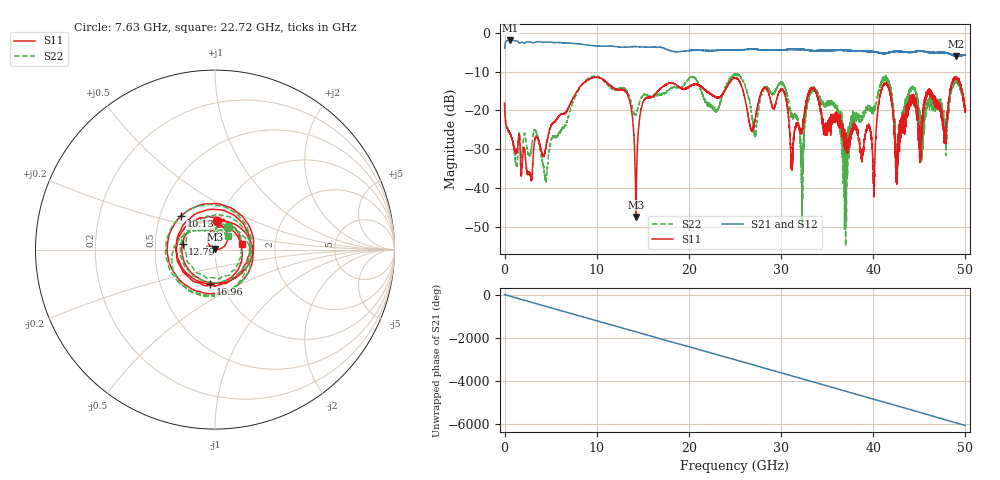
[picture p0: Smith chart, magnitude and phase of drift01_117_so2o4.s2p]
!Created with skrf (http://scikit-rf.org).
# Hz S RI R 50.0
!freq ReS11 ImS11 ReS21 ImS21 ReS12 ImS12 ReS22 ImS22
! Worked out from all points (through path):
!   10001 points, 300 kHz to 50 GHz, reference 50 ohm
!   highest |S21| = -2.00 dB at 625.3 MHz (marker M1); lowest = -6.1 dB at 48.98 GHz (marker M2)
!   group delay of S21, straight-line fit = 336 ps
!   lowest |S11| = -47.5 dB at 14.26 GHz (marker M3), VSWR 1.01, Z = 49.9 + j0.409 ohm
!   |S11| at or under -10 dB: start of sweep to end of sweep
!   |S22| runs from -55.0 to -10.5 dB; largest |S21 - S12| = 0.022
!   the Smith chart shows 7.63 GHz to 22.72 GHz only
!   S11 on the Smith chart (normalised r, x): 7.63 GHz: 0.97, +0.31; 10.13 GHz: 0.64, +0.26; 12.79 GHz: 0.69, +0.05; 16.96 GHz: 0.88, -0.35; 22.72 GHz: 1.35, +0.08
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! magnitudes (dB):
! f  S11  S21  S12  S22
! 300 kHz  -18.2  -4.0  -4.1  -18.0
! 625.3 MHz  -26.1  -2.0  -2.0  -26.1
! 4.445 GHz  -29.9  -2.4  -2.4  -37.7
! 7.63 GHz  -16.0  -2.8  -2.8  -16.7
! 8.335 GHz  -13.5  -2.9  -3.0  -13.5
! 10.13 GHz  -11.5  -3.4  -3.4  -11.4
! 12.79 GHz  -14.7  -3.7  -3.7  -14.3
! 14.26 GHz  -47.5  -3.6  -3.6  -21.1
! 16.67 GHz  -14.9  -3.7  -3.7  -15.8
! 16.96 GHz  -14.3  -3.8  -3.8  -15.7
! 22.72 GHz  -16.3  -4.6  -4.6  -19.7
! 25 GHz  -11.6  -4.5  -4.5  -10.9
! 27.15 GHz  -22.5  -4.3  -4.2  -26.0
! 30.22 GHz  -14.9  -4.5  -4.5  -13.0
! 32.27 GHz  -25.4  -4.4  -4.3  -40.7
! 33.34 GHz  -14.3  -4.6  -4.6  -14.5
! 36.99 GHz  -30.2  -4.6  -4.4  -37.6
! 40.06 GHz  -40.0  -4.9  -4.9  -20.3
! 41.67 GHz  -14.0  -5.0  -5.1  -12.9
! 42.59 GHz  -34.7  -4.8  -4.8  -32.0
! 48.98 GHz  -11.5  -6.1  -6.0  -12.6
! 50 GHz  -19.4  -5.8  -5.8  -19.6
